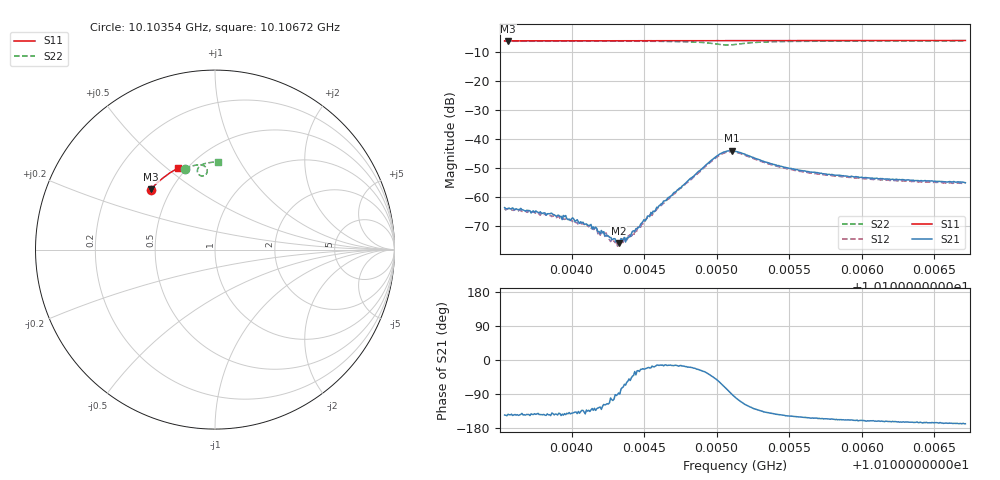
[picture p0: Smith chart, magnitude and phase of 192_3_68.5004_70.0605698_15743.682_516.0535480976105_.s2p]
#  HZ  S  RI  R  50.00
! Rohde & Schwarz Vector Network Analyzer
! Rohde-Schwarz,ZNB20-2Port,1311601062101988,3.16
! Created: UTC 3/20/2024, 5:12:18 PM
! freq[Hz]  re:S11  im:S11  re:S21  im:S21  re:S12  im:S12  re:S22  im:S22
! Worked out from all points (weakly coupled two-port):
!   401 points, 10.10354 GHz to 10.10672 GHz, reference 50 ohm
!   highest |S21| = -43.98 dB at 10.1051 GHz (marker M1); lowest = -75.7 dB at 10.10432 GHz (marker M2)
!   lowest |S11| = -6.2 dB at 10.10356 GHz (marker M3), VSWR 2.92, Z = 19.5 + j17.2 ohm
!   |S11| at or under -10 dB: nowhere
!   |S22| runs from -7.6 to -6.2 dB; largest |S21 - S12| = 0.00064
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1.0103539e10  -0.3577 0.3342  -0.000545 -0.000379  -0.00047 -0.000428  -0.1674 0.4516
1.0103562e10  -0.3567 0.3351  -0.000511 -0.000382  -0.000484 -0.000421  -0.1659 0.4524
1.0103864e10  -0.3444 0.3491  -0.000406 -0.00034  -0.000339 -0.000318  -0.1464 0.4596
1.0104023e10  -0.3378 0.3561  -0.000287 -0.000262  -0.000273 -0.00026  -0.1355 0.4633
1.0104071e10  -0.3359 0.358  -0.000245 -0.000265  -0.000227 -0.000263  -0.1322 0.4642
1.0104118e10  -0.3338 0.3603  -0.000219 -0.000237  -0.000214 -0.000225  -0.129 0.4652
1.0104198e10  -0.3303 0.3637  -0.000132 -0.000195  -0.000107 -0.000195  -0.1232 0.4667
1.0104222e10  -0.3293 0.3647  -0.000117 -0.000227  -0.000109 -0.000231  -0.1214 0.4672
1.0104269e10  -0.3273 0.3666  -3.81e-05 -0.000208  -3.02e-05 -0.00017  -0.1177 0.468
1.0104325e10  -0.3248 0.3691  8.92e-06 -0.000163  2.82e-05 -0.000171  -0.1136 0.4691
1.0104388e10  -0.322 0.3717  0.000113 -0.000167  0.000149 -0.000133  -0.1083 0.4701
1.0104428e10  -0.3202 0.3734  0.000202 -0.000172  0.000175 -0.000126  -0.1049 0.4707
1.0104523e10  -0.3161 0.3773  0.000444 -0.000167  0.00043 -0.000127  -0.0967 0.4718
1.0104603e10  -0.3125 0.3804  0.000691 -0.000178  0.000657 -0.000114  -0.0891 0.4723
1.0104984e10  -0.2946 0.3954  0.00323 -0.00348  0.00342 -0.00301  -0.0432 0.4352
1.0105047e10  -0.2917 0.3974  0.00219 -0.00554  0.00262 -0.00508  -0.0551 0.4148
1.0105103e10  -0.2892 0.3995  2.82e-05 -0.00633  0.000616 -0.00607  -0.0776 0.4108
1.0105127e10  -0.288 0.4003  -0.000866 -0.00614  -0.000267 -0.00598  -0.0862 0.415
1.0105405e10  -0.2748 0.4108  -0.00288 -0.00218  -0.00257 -0.00233  -0.083 0.4667
1.0105659e10  -0.2624 0.4198  -0.0024 -0.00123  -0.00222 -0.00137  -0.0597 0.4784
1.0106191e10  -0.2351 0.4372  -0.00196 -0.000626  -0.00181 -0.000728  -0.0195 0.4864
1.0106715e10  -0.2072 0.4523  -0.00174 -0.000366  -0.00167 -0.000521  0.0164 0.4885
